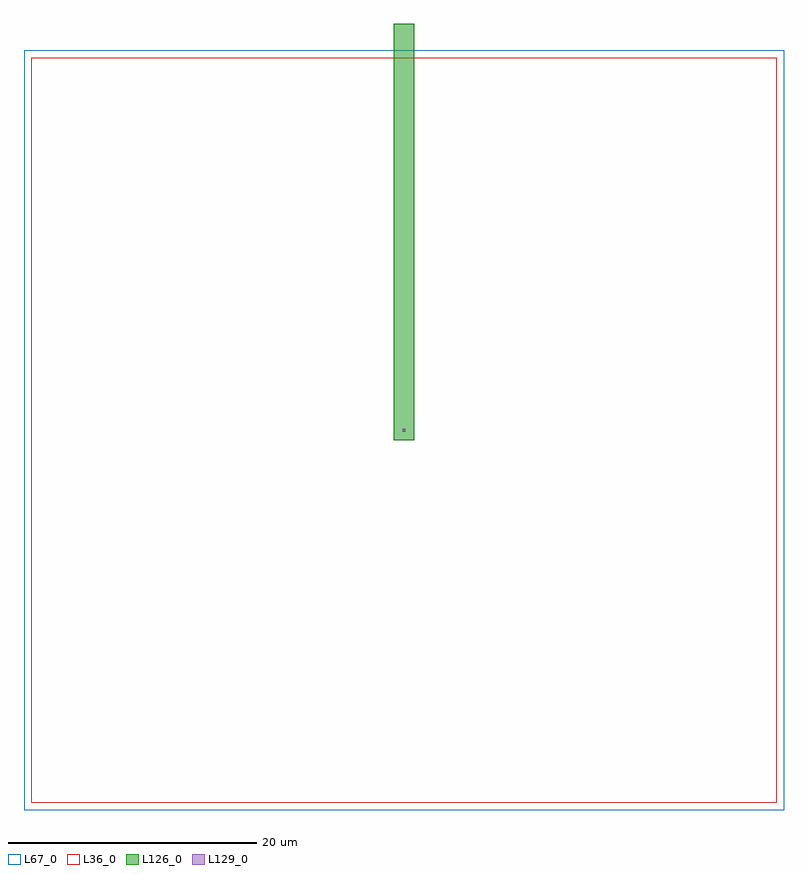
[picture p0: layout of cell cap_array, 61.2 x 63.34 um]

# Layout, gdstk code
import gdstk
lib = gdstk.Library(unit=1e-6, precision=1e-09)
def R(c, l, rs):  # rectangles x0, y0, x1, y1
    for r in rs: c.add(gdstk.rectangle(r[:2], r[2:], *l))
L36_0 = (36, 0)
L67_0 = (67, 0)
L126_0 = (126, 0)
L129_0 = (129, 0)

cap_array = lib.new_cell('cap_array')
R(cap_array, L36_0, [(0.6,0.6,60.6,60.6)])
R(cap_array, L67_0, [(0,0,61.2,61.2)])
R(cap_array, L126_0, [(29.78,29.78,31.42,31.42), (29.78,31.42,31.42,61.7), (29.78,61.7,31.42,63.34)])
R(cap_array, L129_0, [(30.49,30.49,30.71,30.71)])

lib.write_gds('cap_array.gds')
